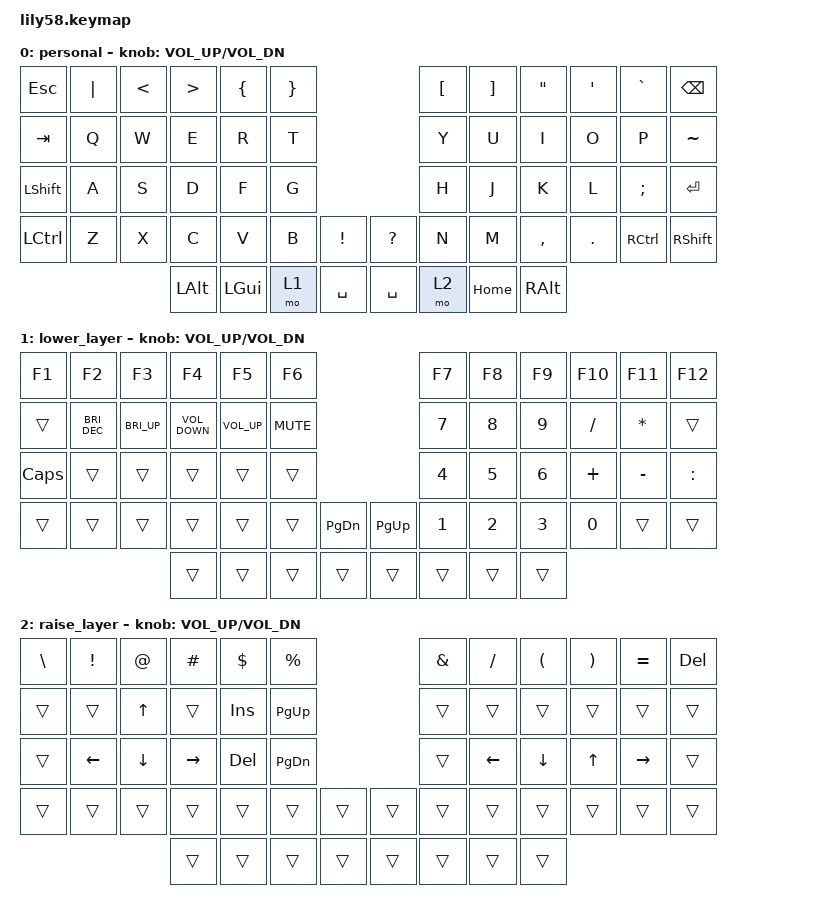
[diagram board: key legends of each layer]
/*
 * Copyright (c) 2020 The ZMK Contributors
 *
 * SPDX-License-Identifier: MIT
 */

#include <behaviors.dtsi>
#include <dt-bindings/zmk/keys.h>

/ {
    combos {
        compatible = "zmk,combos";

        printscreen {
            bindings = <&kp PRINTSCREEN>;
            key-positions = <53 54>;
        };

        Apagado {
            bindings = <&kp ESCAPE>;
            key-positions = <53 0>;
        };
    };

    keymap {
        compatible = "zmk,keymap";

        personal {
            // ------------------------------------------------------------------------------------------------------------
            // |  ESC  |  1  |  2  |  3   |  4   |  5   |                   |  6   |  7    |  8    |  9   |   0   |   `   |
            // |  TAB  |  Q  |  W  |  E   |  R   |  T   |                   |  Y   |  U    |  I    |  O   |   P   |   -   |
            // |  CTRL |  A  |  S  |  D   |  F   |  G   |                   |  H   |  J    |  K    |  L   |   ;   |   '   |
            // | SHIFT |  Z  |  X  |  C   |  V   |  B   |   "["  |  |  "]"  |  N   |  M    |  ,    |  .   |   /   | SHIFT |
            //                     | ALT  | GUI  | LOWER|  SPACE |  | ENTER | RAISE| BSPC  | GUI   |

            bindings = <
&kp ESC           &kp PIPE  &kp LESS_THAN  &kp GREATER_THAN  &kp LEFT_BRACE  &kp RIGHT_BRACE                             &kp LEFT_BRACKET  &kp RBKT  &kp DOUBLE_QUOTES  &kp SINGLE_QUOTE  &kp GRAVE          &kp BACKSPACE
&kp TAB           &kp Q     &kp W          &kp E             &kp R           &kp T                                       &kp Y             &kp U     &kp I              &kp O             &kp P              &kp TILDE
&kp LEFT_SHIFT    &kp A     &kp S          &kp D             &kp F           &kp G                                       &kp H             &kp J     &kp K              &kp L             &kp SEMI           &kp ENTER
&kp LEFT_CONTROL  &kp Z     &kp X          &kp C             &kp V           &kp B            &kp EXCL     &kp QUESTION  &kp N             &kp M     &kp COMMA          &kp DOT           &kp RIGHT_CONTROL  &kp RSHFT
                                           &kp LALT          &kp LGUI        &mo 1            &kp SPACE    &kp SPACE     &mo 2             &kp HOME  &kp RIGHT_ALT
            >;

            sensor-bindings = <&inc_dec_kp C_VOL_UP C_VOL_DN>;
        };

        lower_layer {
            // ------------------------------------------------------------------------------------------------------------
            // | BTCLR | BT1 | BT2 |  BT3 |  BT4 |  BT5 |                   |      |       |       |      |       |       |
            // |  F1   |  F2 |  F3 |  F4  |  F5  |  F6  |                   |  F7  |  F8   |  F9   |  F10 |  F11  |  F12  |
            // |   `   |  !  |  @  |  #   |  $   |  %   |                   |  ^   |  &    |  *    |  (   |   )   |   ~   |
            // |       |     |     |      |      |      |        |  |       |      |  _    |  +    |  {   |   }   |  "|"  |
            //                     |      |      |      |        |  |       |      |       |       |

            bindings = <
&kp F1        &kp F2         &kp F3        &kp F4             &kp F5           &kp F6                                    &kp F7  &kp F8  &kp F9  &kp F10    &kp F11       &kp F12
&trans        &kp C_BRI_DEC  &kp C_BRI_UP  &kp C_VOLUME_DOWN  &kp C_VOLUME_UP  &kp K_MUTE                                &kp N7  &kp N8  &kp N9  &kp SLASH  &kp ASTERISK  &trans
&kp CAPSLOCK  &trans         &trans        &trans             &trans           &trans                                    &kp N4  &kp N5  &kp N6  &kp PLUS   &kp MINUS     &kp COLON
&trans        &trans         &trans        &trans             &trans           &trans      &kp PAGE_DOWN    &kp PAGE_UP  &kp N1  &kp N2  &kp N3  &kp N0     &trans        &trans
                                           &trans             &trans           &trans      &trans           &trans       &trans  &trans  &trans
            >;

            sensor-bindings = <&inc_dec_kp C_VOL_UP C_VOL_DN>;
        };

        raise_layer {
            // ------------------------------------------------------------------------------------------------------------
            // |       |     |     |      |      |      |                   |      |       |       |      |       |       |
            // |   `   |  1  |  2  |  3   |  4   |  5   |                   |  6   |   7   |   8   |  9   |   0   |       |
            // |   F1  |  F2 |  F3 |  F4  |  F5  |  F6  |                   |      |   <-  |   v   |  ^   |  ->   |       |
            // |   F7  |  F8 |  F9 |  F10 |  F11 |  F12 |        |  |       |  +   |   -   |   =   |  [   |   ]   |   \   |
            //                     |      |      |      |        |  |       |      |       |       |

            bindings = <
&kp BACKSLASH  &kp EXCL        &kp AT          &kp HASH         &kp DOLLAR  &kp PERCENT                      &kp AMPS  &kp SLASH  &kp LEFT_PARENTHESIS  &kp RIGHT_PARENTHESIS  &kp EQUAL  &kp DELETE
&trans         &trans          &kp UP_ARROW    &trans           &kp INSERT  &kp PAGE_UP                      &trans    &trans     &trans                &trans                 &trans     &trans
&trans         &kp LEFT_ARROW  &kp DOWN_ARROW  &kp RIGHT_ARROW  &kp DEL     &kp PAGE_DOWN                    &trans    &kp LEFT   &kp DOWN              &kp UP                 &kp RIGHT  &trans
&trans         &trans          &trans          &trans           &trans      &trans         &trans    &trans  &trans    &trans     &trans                &trans                 &trans     &trans
                                               &trans           &trans      &trans         &trans    &trans  &trans    &trans     &trans
            >;

            sensor-bindings = <&inc_dec_kp C_VOL_UP C_VOL_DN>;
        };
    };
};
